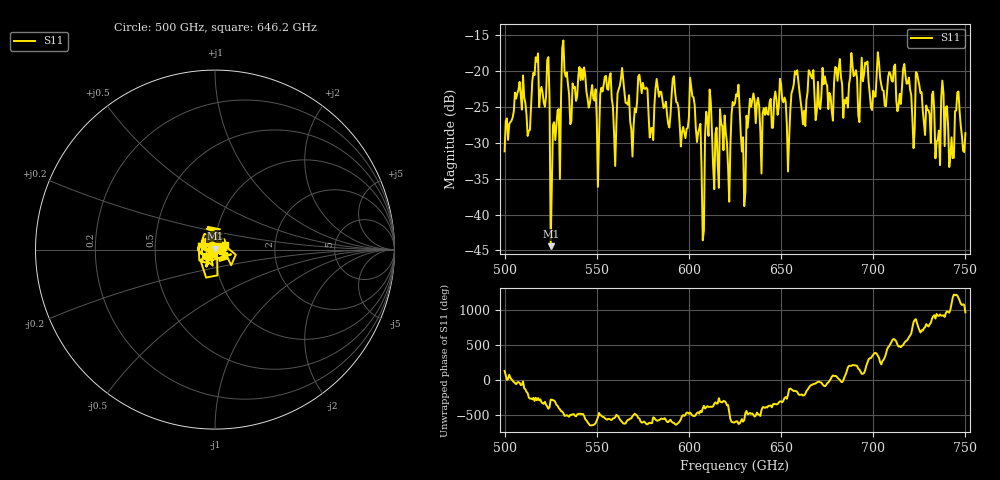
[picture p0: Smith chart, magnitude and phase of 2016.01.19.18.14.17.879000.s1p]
!Created with skrf (http://scikit-rf.org).
# GHz S RI R 50.0
!freq ReS11 ImS11
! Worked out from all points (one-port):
!   401 points, 500 GHz to 750 GHz, reference 50 ohm
!   lowest |S11| = -44.4 dB at 525 GHz (marker M1), VSWR 1.01, Z = 50.1 + j0.6 ohm
!   |S11| at or under -10 dB: start of sweep to end of sweep
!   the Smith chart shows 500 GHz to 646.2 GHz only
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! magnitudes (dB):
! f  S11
! 500 GHz  -31.2
! 506.9 GHz  -23.1
! 513.1 GHz  -28.3
! 516.9 GHz  -18.1
! 523.1 GHz  -18.5
! 525 GHz  -44.4
! 531.2 GHz  -16.8
! 541.9 GHz  -19.7
! 550 GHz  -26.6
! 556.2 GHz  -22.6
! 559.4 GHz  -28.6
! 562.5 GHz  -22.1
! 569.4 GHz  -31.9
! 573.8 GHz  -21.7
! 579.4 GHz  -28.0
! 593.8 GHz  -24.4
! 601.9 GHz  -23.5
! 607.5 GHz  -43.6
! 610.6 GHz  -29.0
! 621.2 GHz  -33.4
! 625 GHz  -24.5
! 629.4 GHz  -29.2
! 634.4 GHz  -24.0
! 653.8 GHz  -34.0
! 656.2 GHz  -22.6
! 687.5 GHz  -20.8
! 718.8 GHz  -21.7
! 750 GHz  -28.6
